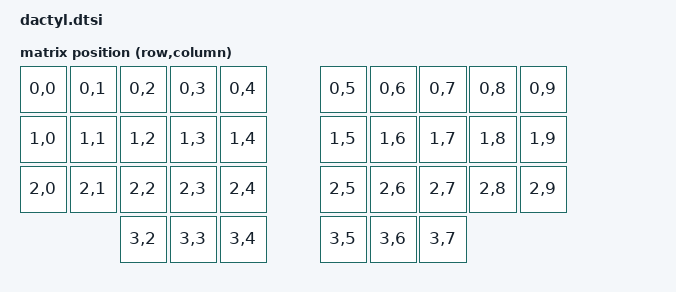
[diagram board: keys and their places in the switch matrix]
#include <dt-bindings/zmk/matrix_transform.h>
#include <physical_layouts.dtsi>

/ {
    default_transform: keymap_transform0 {
        compatible = "zmk,matrix-transform";
        columns = <10>;
        rows = <4>;
        map = <
            RC(0,0) RC(0,1) RC(0,2) RC(0,3) RC(0,4)
            RC(1,0) RC(1,1) RC(1,2) RC(1,3) RC(1,4)
            RC(2,0) RC(2,1) RC(2,2) RC(2,3) RC(2,4)
                            RC(3,2) RC(3,3) RC(3,4)

            RC(0,5) RC(0,6) RC(0,7) RC(0,8) RC(0,9)
            RC(1,5) RC(1,6) RC(1,7) RC(1,8) RC(1,9)
            RC(2,5) RC(2,6) RC(2,7) RC(2,8) RC(2,9)
            RC(3,5) RC(3,6) RC(3,7)
        >;
    };

    dactyl_layout: dactyl_layout {
        compatible = "zmk,physical-layout";
        display-name = "Dactyl";
        transform = <&default_transform>;
        keys
            //                     w    h    x    y   rot  rx  ry
            = <&key_physical_attrs 100  100    0    0     0   0   0>
            , <&key_physical_attrs 100  100  100    0     0   0   0>
            , <&key_physical_attrs 100  100  200    0     0   0   0>
            , <&key_physical_attrs 100  100  300    0     0   0   0>
            , <&key_physical_attrs 100  100  400    0     0   0   0>
            , <&key_physical_attrs 100  100    0  100     0   0   0>
            , <&key_physical_attrs 100  100  100  100     0   0   0>
            , <&key_physical_attrs 100  100  200  100     0   0   0>
            , <&key_physical_attrs 100  100  300  100     0   0   0>
            , <&key_physical_attrs 100  100  400  100     0   0   0>
            , <&key_physical_attrs 100  100    0  200     0   0   0>
            , <&key_physical_attrs 100  100  100  200     0   0   0>
            , <&key_physical_attrs 100  100  200  200     0   0   0>
            , <&key_physical_attrs 100  100  300  200     0   0   0>
            , <&key_physical_attrs 100  100  400  200     0   0   0>
            , <&key_physical_attrs 100  100  200  300     0   0   0>
            , <&key_physical_attrs 100  100  300  300     0   0   0>
            , <&key_physical_attrs 100  100  400  300     0   0   0>

            , <&key_physical_attrs 100  100  600    0     0   0   0>
            , <&key_physical_attrs 100  100  700    0     0   0   0>
            , <&key_physical_attrs 100  100  800    0     0   0   0>
            , <&key_physical_attrs 100  100  900    0     0   0   0>
            , <&key_physical_attrs 100  100 1000    0     0   0   0>
            , <&key_physical_attrs 100  100  600  100     0   0   0>
            , <&key_physical_attrs 100  100  700  100     0   0   0>
            , <&key_physical_attrs 100  100  800  100     0   0   0>
            , <&key_physical_attrs 100  100  900  100     0   0   0>
            , <&key_physical_attrs 100  100 1000  100     0   0   0>
            , <&key_physical_attrs 100  100  600  200     0   0   0>
            , <&key_physical_attrs 100  100  700  200     0   0   0>
            , <&key_physical_attrs 100  100  800  200     0   0   0>
            , <&key_physical_attrs 100  100  900  200     0   0   0>
            , <&key_physical_attrs 100  100 1000  200     0   0   0>
            , <&key_physical_attrs 100  100  600  300     0   0   0>
            , <&key_physical_attrs 100  100  700  300     0   0   0>
            , <&key_physical_attrs 100  100  800  300     0   0   0>
            ;
    };
};
